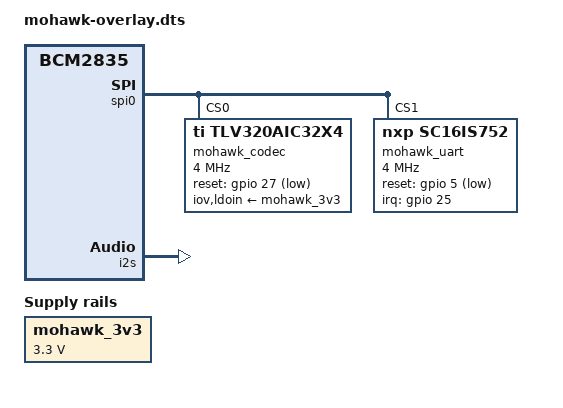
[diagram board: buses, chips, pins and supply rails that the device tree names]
// SPDX-License-Identifier: (GPL-2.0 OR MIT)
// Mohawk on a Raspberry Pi Zero: SC16IS752 on SPI0 CE1 and AIC3204 on CE0.
// Fit R15 (10 ohms) to connect GPIO4/GPCLK0 to the codec MCLK input.

/dts-v1/;
/plugin/;

#include <dt-bindings/clock/bcm2835.h>
#include <dt-bindings/gpio/gpio.h>
#include <dt-bindings/interrupt-controller/irq.h>
#include <dt-bindings/pinctrl/bcm2835.h>

/ {
	compatible = "brcm,bcm2835";

	fragment@0 {
		target = <&spi0>;
		__overlay__ {
			#address-cells = <1>;
			#size-cells = <0>;
			status = "okay";

			mohawk_codec: codec@0 {
				compatible = "ti,tlv320aic32x4";
				reg = <0>;
				spi-max-frequency = <4000000>;
				#sound-dai-cells = <0>;

				clocks = <&clocks BCM2835_CLOCK_GP0>;
				clock-names = "mclk";
				assigned-clocks = <&clocks BCM2835_CLOCK_GP0>;
				assigned-clock-rates = <12288000>;
				pinctrl-names = "default";
				pinctrl-0 = <&mohawk_gpclk0>;

				reset-gpios = <&gpio 27 GPIO_ACTIVE_LOW>;
				iov-supply = <&mohawk_3v3>;
				ldoin-supply = <&mohawk_3v3>;

				// MFP5 drives active-low radio PTT. Start as an output high.
				// MFP1-4 retain the driver's defaults for SPI and I2S.
				aic32x4-gpio-func = <0xff 0xff 0xff 0xff 0x0d>;
			};

			mohawk_uart: serial@1 {
				compatible = "nxp,sc16is752";
				reg = <1>;
				spi-max-frequency = <4000000>;
				clock-frequency = <1843200>;
				reset-gpios = <&gpio 5 GPIO_ACTIVE_LOW>;
				interrupt-parent = <&gpio>;
				interrupts = <25 IRQ_TYPE_EDGE_FALLING>;
				pinctrl-names = "default";
				pinctrl-0 = <&mohawk_uart_irq>;
				// Port A: DRA818. Port B: MAX3232 with RTS/CTS.
				nxp,modem-control-line-ports = <1>;
			};
		};
	};

	fragment@1 {
		target = <&gpio>;
		__overlay__ {
			mohawk_gpclk0: mohawk_gpclk0 {
				brcm,pins = <4>;
				brcm,function = <BCM2835_FSEL_ALT0>;
				brcm,pull = <BCM2835_PUD_OFF>;
			};

			mohawk_uart_irq: mohawk_uart_irq {
				brcm,pins = <25>;
				brcm,function = <BCM2835_FSEL_GPIO_IN>;
				brcm,pull = <BCM2835_PUD_OFF>;
			};
		};
	};

	fragment@2 {
		target = <&i2s>;
		__overlay__ {
			status = "okay";
		};
	};

	fragment@3 {
		target-path = "/";
		__overlay__ {
			mohawk_3v3: regulator-mohawk-3v3 {
				compatible = "regulator-fixed";
				regulator-name = "mohawk-3v3";
				regulator-min-microvolt = <3300000>;
				regulator-max-microvolt = <3300000>;
				regulator-always-on;
			};

			sound-mohawk {
				compatible = "simple-audio-card";
				simple-audio-card,name = "Mohawk";
				simple-audio-card,format = "i2s";
				simple-audio-card,bitclock-master = <&mohawk_cpu_dai>;
				simple-audio-card,frame-master = <&mohawk_cpu_dai>;
				simple-audio-card,widgets =
					"Line", "Radio Audio Out",
					"Line", "Radio Audio In",
					"Headphone", "Monitor";
				simple-audio-card,routing =
					"IN1_L", "Radio Audio Out",
					"Radio Audio In", "LOL",
					"Monitor", "HPR";

				mohawk_cpu_dai: simple-audio-card,cpu {
					sound-dai = <&i2s>;
				};

				simple-audio-card,codec {
					sound-dai = <&mohawk_codec>;
				};
			};
		};
	};

	fragment@4 {
		target = <&spidev0>;
		__overlay__ {
			status = "disabled";
		};
	};

	fragment@5 {
		target = <&spidev1>;
		__overlay__ {
			status = "disabled";
		};
	};
};
